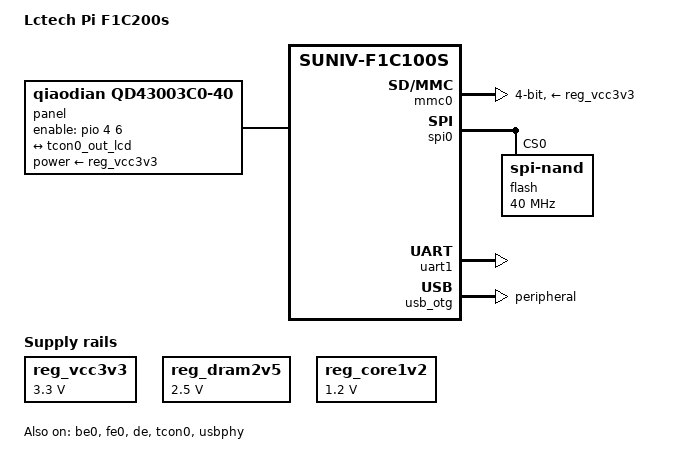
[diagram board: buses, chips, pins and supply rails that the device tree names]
// SPDX-License-Identifier: (GPL-2.0+ OR MIT)
/*
 * Copyright 2022 Arm Ltd,
 * based on work:
 *   Copyright 2022 Icenowy Zheng <uwu@icenowy.me>
 */

/dts-v1/;
#include "suniv-f1c100s.dtsi"

#include <dt-bindings/gpio/gpio.h>

/ {
	model = "Lctech Pi F1C200s";
	compatible = "lctech,pi-f1c200s", "allwinner,suniv-f1c200s",
		     "allwinner,suniv-f1c100s";

	aliases {
		serial0 = &uart1;
	};

	chosen {
		stdout-path = "serial0:115200n8";
	};

	panel: panel {
		// default 800x480 resolution lcd
		//compatible = "lg,lb070wv8", "simple-panel";
		// smaller 480x272 resolution lcd
		compatible = "qiaodian,qd43003c0-40", "simple-panel";
		#address-cells = <1>;
		#size-cells = <0>;
		enable-gpios = <&pio 4 6 GPIO_ACTIVE_HIGH>; /* PE6 */
		power-supply = <&reg_vcc3v3>;

		port@0 {
			reg = <0>;
			#address-cells = <1>;
			#size-cells = <0>;

			panel_input: endpoint@0 {
				reg = <0>;
				remote-endpoint = <&tcon0_out_lcd>;
			};
		};
	};

	reg_vcc3v3: regulator-3v3 {
		compatible = "regulator-fixed";
		regulator-name = "vcc3v3";
		regulator-min-microvolt = <3300000>;
		regulator-max-microvolt = <3300000>;
	};

	reg_dram2v5: regulator-2v5 {
		compatible = "regulator-fixed";
		regulator-name = "dram2v5";
		regulator-min-microvolt = <2500000>;
		regulator-max-microvolt = <2500000>;
	};

	reg_core1v2: regulator-1v2 {
		compatible = "regulator-fixed";
		regulator-name = "core1v2";
		regulator-min-microvolt = <1200000>;
		regulator-max-microvolt = <1200000>;
	};
};

&cpu0 {
	cpu-supply = <&reg_core1v2>;
};

&be0 {
	status = "okay";
};

&fe0 {
	status = "okay";
};

&de {
	status = "okay";
};

&mmc0 {
	broken-cd;
	bus-width = <4>;
	disable-wp;
	vmmc-supply = <&reg_vcc3v3>;
	status = "okay";
};

&otg_sram {
	status = "okay";
};

&spi0 {
	pinctrl-names = "default";
	pinctrl-0 = <&spi0_pc_pins>;
	status = "okay";

	flash@0 {
		compatible = "spi-nand";
		reg = <0>;
		spi-max-frequency = <40000000>;
	};
};

&tcon0 {
	pinctrl-names = "default";
	pinctrl-0 = <&lcd_rgb666_pins>;
	status = "okay";
};

&tcon0_out {
	tcon0_out_lcd: endpoint@0 {
		reg = <0>;
		remote-endpoint = <&panel_input>;
	};
};

&uart1 {
	pinctrl-names = "default";
	pinctrl-0 = <&uart1_pa_pins>;
	status = "okay";
};

/*
 * This is a Type-C socket, but CC1/2 are not connected, and VBUS is connected
 * to Vin, which supplies the board. Host mode works (if the board is powered
 * otherwise), but peripheral is probably the intention.
 */
&usb_otg {
	dr_mode = "peripheral";
	status = "okay";
};

&usbphy {
	status = "okay";
};
